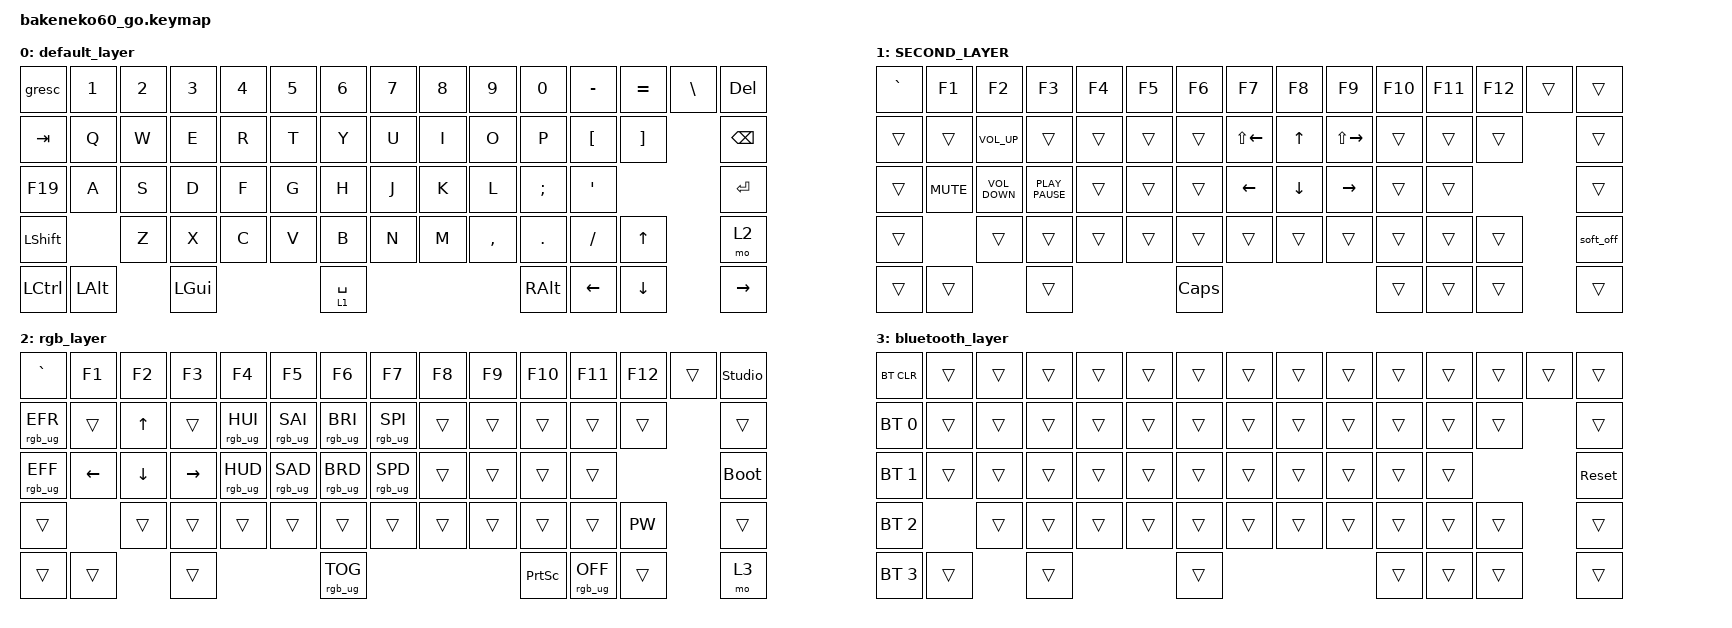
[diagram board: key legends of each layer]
/*
 * Copyright (c) 2023 Andrew Kannan
 *
 * SPDX-License-Identifier: MIT
 */

#include <behaviors.dtsi>
#include <dt-bindings/zmk/bt.h>
#include <dt-bindings/zmk/keys.h>
#include <dt-bindings/zmk/rgb.h>

&lt { tapping-term-ms = <200>; };

&soft_off { hold-time-ms = <3000>; };

/ {
    keymap {
        compatible = "zmk,keymap";

        default_layer {
            // ------------------------------------------------------------------------------------------
            // | ESC |  1  |  2  |  3  |  4  |  5  |  6  |  7  |  8  |  9  |  0  |  -  |  =  | BKSP|BKSP|
            // | TAB  |  Q  |  W  |  E  |  R  |  T  |  Y  |  U  |  I  |  O  |  P  |  [  |  ]  |   "|"   |
            // | CAPS  |  A  |  S  |  D  |  F  |  G  |  H  |  J  |  K  |  L  |  ;  |  '  |     ENTER    |
            // |  SHIFT  |  Z  |  X  |  C  |  V  |  B  |  N  |  M  |  ,  |  .  |  /  |  SHIFT  | MO(1)  |
            // |  CTL  |  WIN  |  ALT  |            SPACE              |  ALT  |  WIN  |  MO(1) |  CTL  |
            // ------------------------------------------------------------------------------------------

            bindings = <
&gresc     &kp N1        &kp N2  &kp N3        &kp N4  &kp N5  &kp N6       &kp N7  &kp N8  &kp N9     &kp N0         &kp MINUS  &kp EQUAL  &kp BSLH  &kp DEL
&kp TAB    &kp Q         &kp W   &kp E         &kp R   &kp T   &kp Y        &kp U   &kp I   &kp O      &kp P          &kp LBKT   &kp RBKT             &kp BACKSPACE
&kp F19    &kp A         &kp S   &kp D         &kp F   &kp G   &kp H        &kp J   &kp K   &kp L      &kp SEMICOLON  &kp SQT                         &kp RET
&kp LSHFT                &kp Z   &kp X         &kp C   &kp V   &kp B        &kp N   &kp M   &kp COMMA  &kp DOT        &kp FSLH   &kp UP               &mo 2
&kp LCTRL  &kp LEFT_ALT          &kp LEFT_GUI                  &lt 1 SPACE                             &kp RALT       &kp LEFT   &kp DOWN             &kp RIGHT
            >;
        };

        SECOND_LAYER {
            bindings = <
&kp GRAVE  &kp F1      &kp F2             &kp F3            &kp F4  &kp F5  &kp F6    &kp F7        &kp F8    &kp F9         &kp F10  &kp F11  &kp F12  &trans  &trans
&trans     &trans      &kp C_VOLUME_UP    &trans            &trans  &trans  &trans    &kp LS(LEFT)  &kp UP    &kp LS(RIGHT)  &trans   &trans   &trans           &trans
&trans     &kp K_MUTE  &kp C_VOLUME_DOWN  &kp K_PLAY_PAUSE  &trans  &trans  &trans    &kp LEFT      &kp DOWN  &kp RIGHT      &trans   &trans                    &trans
&trans                 &trans             &trans            &trans  &trans  &trans    &trans        &trans    &trans         &trans   &trans   &trans           &soft_off
&trans     &trans                         &trans                            &kp CAPS                                         &trans   &trans   &trans           &trans
            >;
        };

        rgb_layer {
            // ------------------------------------------------------------------------------------------------
            // |    `   | F1  | F2  | F3  | F4  | F5  | F6  | F7  | F8  | F9  | F10  | F11 | F12 |     | DEL  |
            // | EFCT REV|   |  UP |   | HUEUP | SATUP | BRIUP | SPDUP |      |  PGUP |    |     |    |       |
            // | EFCT FWD | LT |  DN  | RT | HUEDN | SATDN | BRIDN | SPDDN | HOME | PGDN | END  |  | BOOTLDR  |
            // |             |     |      |      |     |     |     |     |     |     |     |         |        |
            // |         |      |      |             TOG RGB                | PRT SCR |       |       |  MO(2)|
            // ------------------------------------------------------------------------------------------------

            bindings = <
&kp GRAVE        &kp F1    &kp F2    &kp F3     &kp F4           &kp F5           &kp F6           &kp F7           &kp F8  &kp F9  &kp F10    &kp F11          &kp F12  &trans  &studio_unlock
&rgb_ug RGB_EFR  &trans    &kp UP    &trans     &rgb_ug RGB_HUI  &rgb_ug RGB_SAI  &rgb_ug RGB_BRI  &rgb_ug RGB_SPI  &trans  &trans  &trans     &trans           &trans           &trans
&rgb_ug RGB_EFF  &kp LEFT  &kp DOWN  &kp RIGHT  &rgb_ug RGB_HUD  &rgb_ug RGB_SAD  &rgb_ug RGB_BRD  &rgb_ug RGB_SPD  &trans  &trans  &trans     &trans                            &bootloader
&trans                     &trans    &trans     &trans           &trans           &trans           &trans           &trans  &trans  &trans     &trans           &PW              &trans
&trans           &trans              &trans                                       &rgb_ug RGB_TOG                                   &kp PSCRN  &rgb_ug RGB_OFF  &trans           &mo 3
            >;
        };

        bluetooth_layer {
            // ------------------------------------------------------------------------------------------------
            // | BT CLR |     |     |     |     |     |     |     |     |     |     |    |    |       |       |
            // |  BT 1   |   |     |   |       |       |       |       |   |     |    |     |     |           |
            // |   BT 2   |    |      |    |       |       |       |       |      |      |      |  |   Reset  |
            // |    BT 3     |     |      |      |     |     |     |     |     |     |     |         |        |
            // |   BT 4  |      |      |                                    |         |       |       |       |
            // ------------------------------------------------------------------------------------------------

            bindings = <
&bt BT_CLR    &trans  &trans  &trans  &trans  &trans  &trans  &trans  &trans  &trans  &trans  &trans  &trans  &trans  &trans
&bt BT_SEL 0  &trans  &trans  &trans  &trans  &trans  &trans  &trans  &trans  &trans  &trans  &trans  &trans          &trans
&bt BT_SEL 1  &trans  &trans  &trans  &trans  &trans  &trans  &trans  &trans  &trans  &trans  &trans                  &sys_reset
&bt BT_SEL 2          &trans  &trans  &trans  &trans  &trans  &trans  &trans  &trans  &trans  &trans  &trans          &trans
&bt BT_SEL 3  &trans          &trans                  &trans                          &trans  &trans  &trans          &trans
            >;
        };
    };

    macros {
        PW: PW {
            compatible = "zmk,behavior-macro";
            #binding-cells = <0>;
            bindings = <&none &kp LS(C) &kp H &kp O &kp N3 &kp N8 &kp N7 &kp N3 &kp N4 &kp N4 &kp N5 &kp STAR>;
            label = "PW";
        };
    };

    combos {
        compatible = "zmk,combos";

        combo_bt {
            timeout-ms = <50>;
            key-positions = <61 62>;
            bindings = <&mo 3>;
        };
    };
};
